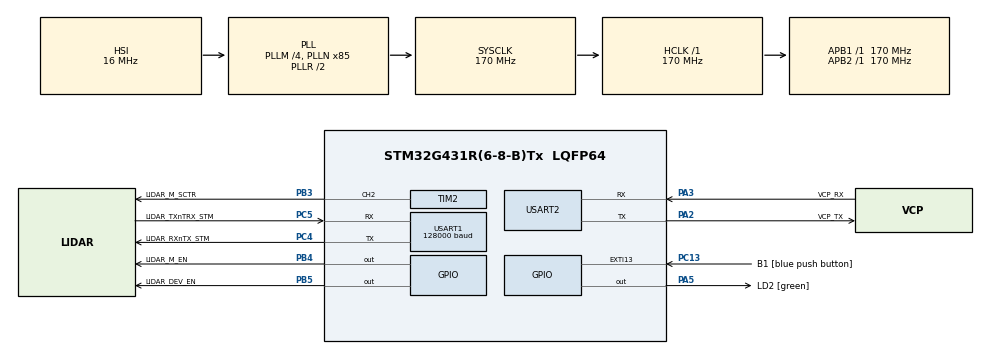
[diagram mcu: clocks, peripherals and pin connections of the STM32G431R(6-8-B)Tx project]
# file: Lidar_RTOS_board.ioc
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Dma.Request0=USART2_TX
Dma.Request1=USART1_TX
Dma.Request2=USART1_RX
Dma.USART1_RX.2.Direction=DMA_PERIPH_TO_MEMORY
Dma.USART1_RX.2.EventEnable=DISABLE
Dma.USART1_RX.2.Instance=DMA1_Channel2
Dma.USART1_RX.2.MemDataAlignment=DMA_MDATAALIGN_BYTE
Dma.USART1_RX.2.MemInc=DMA_MINC_ENABLE
Dma.USART1_RX.2.Mode=DMA_CIRCULAR
Dma.USART1_RX.2.PeriphDataAlignment=DMA_PDATAALIGN_BYTE
Dma.USART1_RX.2.PeriphInc=DMA_PINC_DISABLE
Dma.USART1_RX.2.Polarity=HAL_DMAMUX_REQ_GEN_RISING
Dma.USART1_RX.2.Priority=DMA_PRIORITY_VERY_HIGH
Dma.USART1_RX.2.RequestNumber=1
Dma.USART1_RX.2.SignalID=NONE
Dma.USART1_RX.2.SyncEnable=DISABLE
Dma.USART1_RX.2.SyncPolarity=HAL_DMAMUX_SYNC_NO_EVENT
Dma.USART1_RX.2.SyncRequestNumber=1
Dma.USART1_RX.2.SyncSignalID=NONE
Dma.USART1_TX.1.Direction=DMA_MEMORY_TO_PERIPH
Dma.USART1_TX.1.EventEnable=DISABLE
Dma.USART1_TX.1.Instance=DMA1_Channel3
Dma.USART1_TX.1.MemDataAlignment=DMA_MDATAALIGN_BYTE
Dma.USART1_TX.1.MemInc=DMA_MINC_ENABLE
Dma.USART1_TX.1.Mode=DMA_NORMAL
Dma.USART1_TX.1.PeriphDataAlignment=DMA_PDATAALIGN_BYTE
Dma.USART1_TX.1.PeriphInc=DMA_PINC_DISABLE
Dma.USART1_TX.1.Polarity=HAL_DMAMUX_REQ_GEN_RISING
Dma.USART1_TX.1.Priority=DMA_PRIORITY_VERY_HIGH
Dma.USART1_TX.1.RequestNumber=1
Dma.USART1_TX.1.SignalID=NONE
Dma.USART1_TX.1.SyncEnable=DISABLE
Dma.USART1_TX.1.SyncPolarity=HAL_DMAMUX_SYNC_NO_EVENT
Dma.USART1_TX.1.SyncRequestNumber=1
Dma.USART1_TX.1.SyncSignalID=NONE
Dma.USART2_TX.0.Direction=DMA_MEMORY_TO_PERIPH
Dma.USART2_TX.0.EventEnable=DISABLE
Dma.USART2_TX.0.Instance=DMA1_Channel1
Dma.USART2_TX.0.MemDataAlignment=DMA_MDATAALIGN_BYTE
Dma.USART2_TX.0.MemInc=DMA_MINC_ENABLE
Dma.USART2_TX.0.Mode=DMA_NORMAL
Dma.USART2_TX.0.PeriphDataAlignment=DMA_PDATAALIGN_BYTE
Dma.USART2_TX.0.PeriphInc=DMA_PINC_DISABLE
Dma.USART2_TX.0.Polarity=HAL_DMAMUX_REQ_GEN_RISING
Dma.USART2_TX.0.Priority=DMA_PRIORITY_HIGH
Dma.USART2_TX.0.RequestNumber=1
Dma.USART2_TX.0.SignalID=NONE
Dma.USART2_TX.0.SyncEnable=DISABLE
Dma.USART2_TX.0.SyncPolarity=HAL_DMAMUX_SYNC_NO_EVENT
Dma.USART2_TX.0.SyncRequestNumber=1
Dma.USART2_TX.0.SyncSignalID=NONE
Mcu.Family=STM32G4
Mcu.Name=STM32G431R(6-8-B)Tx
Mcu.Package=LQFP64
NVIC.DMA1_Channel1_IRQn=true\:0\:0\:false\:false\:true\:false\:true\:true
NVIC.DMA1_Channel2_IRQn=true\:0\:0\:false\:false\:true\:false\:true\:true
NVIC.DMA1_Channel3_IRQn=true\:0\:0\:false\:false\:true\:false\:true\:true
NVIC.PriorityGroup=NVIC_PRIORITYGROUP_4
NVIC.USART1_IRQn=true\:0\:0\:false\:false\:true\:true\:true\:true
PA13.GPIO_Label=T_SWDIO
PA13.Mode=Serial_Wire
PA13.Signal=SYS_JTMS-SWDIO
PA14.GPIO_Label=T_SWCLK
PA14.Mode=Serial_Wire
PA14.Signal=SYS_JTCK-SWCLK
PA2.GPIO_Label=VCP_TX
PA2.Mode=Asynchronous
PA2.Signal=USART2_TX
PA3.GPIO_Label=VCP_RX
PA3.Mode=Asynchronous
PA3.Signal=USART2_RX
PA5.GPIO_Label=LD2 [green]
PA5.Signal=GPIO_Output
PB3.GPIO_Label=LIDAR_M_SCTR
PB3.Signal=S_TIM2_CH2
PB4.GPIO_Label=LIDAR_M_EN
PB4.Signal=GPIO_Output
PB5.GPIO_Label=LIDAR_DEV_EN
PB5.Signal=GPIO_Output
PC13.GPIO_Label=B1 [blue push button]
PC13.Signal=GPXTI13
PC14-OSC32_IN.GPIO_Label=RCC_OSC32_OUT
PC14-OSC32_IN.Signal=RCC_OSC32_IN
PC15-OSC32_OUT.GPIO_Label=RCC_OSC32_OUT
PC15-OSC32_OUT.Signal=RCC_OSC32_OUT
PC4.GPIO_Label=LIDAR_RXnTX_STM
PC4.Mode=Asynchronous
PC4.Signal=USART1_TX
PC5.GPIO_Label=LIDAR_TXnTRX_STM
PC5.Mode=Asynchronous
PC5.Signal=USART1_RX
PF0-OSC_IN.GPIO_Label=RCC_OSC_IN
PF0-OSC_IN.Mode=HSE-External-Oscillator
PF0-OSC_IN.Signal=RCC_OSC_IN
PF1-OSC_OUT.GPIO_Label=RCC_OSC_OUT
PF1-OSC_OUT.Mode=HSE-External-Oscillator
PF1-OSC_OUT.Signal=RCC_OSC_OUT
ProjectManager.HeapSize=0x200
ProjectManager.StackSize=0x400
ProjectManager.TargetToolchain=STM32CubeIDE
RCC.ADC12Freq_Value=170000000
RCC.AHBFreq_Value=170000000
RCC.APB1Freq_Value=170000000
RCC.APB1TimFreq_Value=170000000
RCC.APB2Freq_Value=170000000
RCC.APB2TimFreq_Value=170000000
RCC.CortexFreq_Value=170000000
RCC.EXTERNAL_CLOCK_VALUE=12288000
RCC.HCLKFreq_Value=170000000
RCC.HSE_VALUE=24000000
RCC.HSI48_VALUE=48000000
RCC.HSI_VALUE=16000000
RCC.LSE_VALUE=32768
RCC.PLLM=RCC_PLLM_DIV4
RCC.PLLN=85
RCC.RTCClockSelection=RCC_RTCCLKSOURCE_LSE
RCC.SYSCLKFreq_VALUE=170000000
RCC.SYSCLKSource=RCC_SYSCLKSOURCE_PLLCLK
RCC.USBFreq_Value=170000000
RCC.VCOOutputFreq_Value=340000000
SH.S_TIM2_CH2.0=TIM2_CH2,PWM Generation2 CH2
TIM2.AutoReloadPreload=TIM_AUTORELOAD_PRELOAD_ENABLE
TIM2.Channel-PWM\ Generation2\ CH2=TIM_CHANNEL_2
TIM2.PeriodNoDither=170000-1
TIM2.PulseNoDither_2=85000
USART1.BaudRate=128000
USART1.SwapParam=ADVFEATURE_SWAP_DISABLE
USART1.VirtualMode-Asynchronous=VM_ASYNC
USART2.VirtualMode-Asynchronous=VM_ASYNC
VP_SYS_VS_DBSignals.Mode=DisableDeadBatterySignals
VP_TIM2_VS_ClockSourceINT.Mode=Internal
board=NUCLEO-G431RB

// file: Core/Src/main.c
/* USER CODE BEGIN Header */
/**
 ******************************************************************************
 * @file           : main.c
 * @brief          : Main program body
 ******************************************************************************
 * @attention
 *
 * Copyright (c) 2024 STMicroelectronics.
 * All rights reserved.
 *
 * This software is licensed under terms that can be found in the LICENSE file
 * in the root directory of this software component.
 * If no LICENSE file comes with this software, it is provided AS-IS.
 *
 ******************************************************************************
 */
/* USER CODE END Header */
#include "main.h"
#include "dma.h"
#include "tim.h"
#include "usart.h"
#include "gpio.h"

/* USER CODE BEGIN Includes */
#include "stdio.h"
#include "LIDAR.h"
int irq_RX = 0;
uint8_t Lidar_byte = 0;

/* USER CODE END Includes */

void SystemClock_Config(void);

/* USER CODE BEGIN 0 */
/*
int _write(int file, char*ptr , int len){
	(void)file;
	HAL_UART_Transmit_DMA(&huart2, (uint8_t*)ptr, len);
	//while(irq_TX2_completed!=1);
	//irq_TX2_completed=0;
	return len;
}*/

int __io_putchar(char ch){
	HAL_UART_Transmit(&huart2, (uint8_t*)&ch, 1,HAL_MAX_DELAY);
	return ch;
}

/* USER CODE END 0 */

int main(void)
{

  /* MCU Configuration--------------------------------------------------------*/

  /* Reset of all peripherals, Initializes the Flash interface and the Systick. */
  HAL_Init();

  /* Configure the system clock */
  SystemClock_Config();

  /* Initialize all configured peripherals */
  MX_GPIO_Init();
  MX_DMA_Init();
  MX_TIM2_Init();
  MX_USART1_UART_Init();
  MX_USART2_UART_Init();
  /* USER CODE BEGIN 2 */
	HAL_TIM_Base_Start(&htim2);
	HAL_TIM_PWM_Start(&htim2, TIM_CHANNEL_2);

	HAL_GPIO_WritePin(LIDAR_M_EN_GPIO_Port,LIDAR_M_EN_Pin, GPIO_PIN_RESET);
	HAL_GPIO_WritePin(LIDAR_DEV_EN_GPIO_Port,LIDAR_DEV_EN_Pin, GPIO_PIN_SET);
	//__HAL_TIM_SET_COMPARE(&htim2, TIM_CHANNEL_2,0);

	uint8_t command[2] = {0xA5,0x90};
	LIDAR_MSG lidar_msg;
	GET_HEALTH_T* content;
	lidar_msg.CONTENT = (GET_HEALTH_T*)content;

	HAL_Delay(2000);
	printf("====== START LIDAR =====\r\n");

	HAL_UART_Transmit(&huart1, command, 2,HAL_MAX_DELAY);
	HAL_UART_Receive_IT(&huart1, (uint8_t *)&Lidar_byte, 1);

  /* USER CODE END 2 */

  /* Infinite loop */
  /* USER CODE BEGIN WHILE */
	extern int i_RX;
	int LIDAR_LENGTH = 20+7;
	extern uint8_t tab[20+7];
	while (1)
	{
		if(i_RX==LIDAR_LENGTH){
			for (int i=0;i<LIDAR_LENGTH;i++){
			printf(">%02X\r\n",tab[i]);
			i_RX=0;
			}
		}

		/*HAL_UART_Receive(&huart1, (uint8_t *)&Lidar_byte, 1,100);
		printf(">%02X\r\n",Lidar_byte);
*/
    /* USER CODE END WHILE */

	}
}

void SystemClock_Config(void)
{
  RCC_OscInitTypeDef RCC_OscInitStruct = {0};
  RCC_ClkInitTypeDef RCC_ClkInitStruct = {0};

  /** Configure the main internal regulator output voltage
  */
  HAL_PWREx_ControlVoltageScaling(PWR_REGULATOR_VOLTAGE_SCALE1_BOOST);

  /** Initializes the RCC Oscillators according to the specified parameters
  * in the RCC_OscInitTypeDef structure.
  */
  RCC_OscInitStruct.OscillatorType = RCC_OSCILLATORTYPE_HSI;
  RCC_OscInitStruct.HSIState = RCC_HSI_ON;
  RCC_OscInitStruct.HSICalibrationValue = RCC_HSICALIBRATION_DEFAULT;
  RCC_OscInitStruct.PLL.PLLState = RCC_PLL_ON;
  RCC_OscInitStruct.PLL.PLLSource = RCC_PLLSOURCE_HSI;
  RCC_OscInitStruct.PLL.PLLM = RCC_PLLM_DIV4;
  RCC_OscInitStruct.PLL.PLLN = 85;
  RCC_OscInitStruct.PLL.PLLP = RCC_PLLP_DIV2;
  RCC_OscInitStruct.PLL.PLLQ = RCC_PLLQ_DIV2;
  RCC_OscInitStruct.PLL.PLLR = RCC_PLLR_DIV2;
  if (HAL_RCC_OscConfig(&RCC_OscInitStruct) != HAL_OK)
  {
    Error_Handler();
  }

  /** Initializes the CPU, AHB and APB buses clocks
  */
  RCC_ClkInitStruct.ClockType = RCC_CLOCKTYPE_HCLK|RCC_CLOCKTYPE_SYSCLK
                              |RCC_CLOCKTYPE_PCLK1|RCC_CLOCKTYPE_PCLK2;
  RCC_ClkInitStruct.SYSCLKSource = RCC_SYSCLKSOURCE_PLLCLK;
  RCC_ClkInitStruct.AHBCLKDivider = RCC_SYSCLK_DIV1;
  RCC_ClkInitStruct.APB1CLKDivider = RCC_HCLK_DIV1;
  RCC_ClkInitStruct.APB2CLKDivider = RCC_HCLK_DIV1;

  if (HAL_RCC_ClockConfig(&RCC_ClkInitStruct, FLASH_LATENCY_4) != HAL_OK)
  {
    Error_Handler();
  }
}

void Error_Handler(void)
{
	__disable_irq();
	while (1)
	{
	}
}
